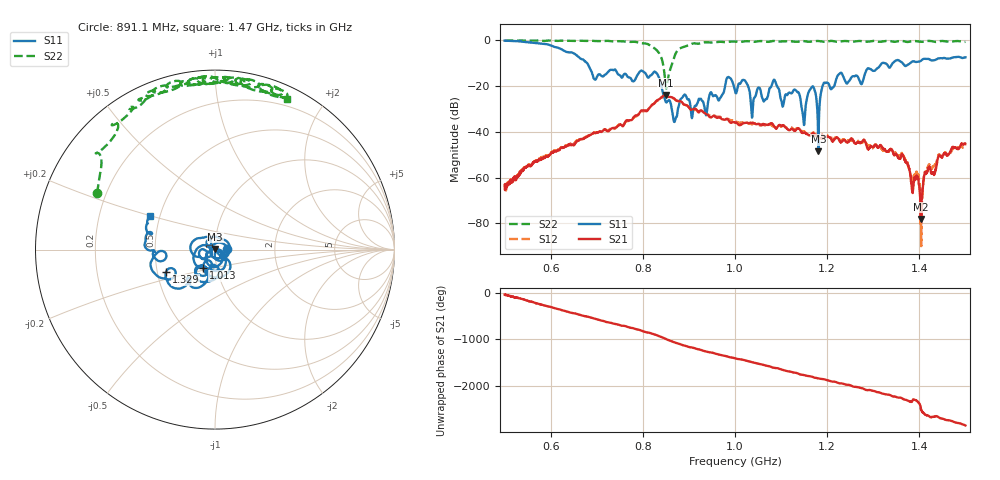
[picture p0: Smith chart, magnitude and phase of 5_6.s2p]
!Agilent Technologies,E8364B,US42250235,A.06.04.32
!Agilent E8364B: A.06.04.32
!Date: Thursday, October 01, 2020 11:19:33
!Correction: S11(Full 2 Port(1,2)) S21(Full 2 Port(1,2)) S12(Full 2 Port(1,2)) S22(Full 2 Port(1,2))
!S2P File: Measurements: S11, S21, S12, S22:
# Hz S  dB  R 50
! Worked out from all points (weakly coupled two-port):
!   2650 points, 500 MHz to 1.5 GHz, reference 50 ohm
!   highest |S21| = -23.95 dB at 849.6 MHz (marker M1); lowest = -78.1 dB at 1.403 GHz (marker M2)
!   lowest |S11| = -48.5 dB at 1.181 GHz (marker M3), VSWR 1.01, Z = 50.1 + j0.359 ohm
!   |S11| at or under -10 dB: 679.2 MHz to 1.319 GHz (640.1 MHz wide, 64.1 % of centre); 1.325 GHz to 1.342 GHz (16.73 MHz wide, 1.25 % of centre); 1.364 GHz to 1.38 GHz (16.4 MHz wide, 1.2 % of centre)
!   |S22| runs from -21.1 to -0.1 dB; largest |S21 - S12| = 0.0081
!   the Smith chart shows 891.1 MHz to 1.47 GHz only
!   S11 on the Smith chart (normalised r, x): 891.1 MHz: 1.14, +0.01; 1.013 GHz: 0.86, -0.18; 1.329 GHz: 0.56, -0.15; 1.47 GHz: 0.44, +0.20
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5e8  -0.18 -175.1  -63.23 -42.4  -64.48 -55.0  -0.21 136.2
5.943752e8  -1.89 123.3  -50.51 63.0  -50.19 59.0  -0.14 126.8
6.668554e8  -8.24 68.1  -43.21 -129.3  -43.24 -131.4  -0.29 121.3
7.835032e8  -17.10 67.3  -32.96 -60.3  -33.42 -65.2  -0.72 96.4
8.337108e8  -15.68 -40.0  -25.92 149.8  -26.27 143.3  -5.22 47.6
8.495659e8  -26.98 -62.1  -23.95 84.2  -24.01 78.1  -19.81 -18.4
8.699509e8  -34.97 -159.5  -25.81 3.4  -25.92 -2.9  -6.33 175.9
8.91091e8  -23.74 2.4  -28.21 -62.2  -28.18 -69.8  -2.76 154.3
1.000189e9  -22.21 -127.4  -35.96 26.5  -35.74 20.8  -0.55 116.8
1.013024e9  -18.35 -122.7  -36.92 3.5  -35.98 -5.8  -0.70 113.4
1.037939e9  -32.01 -131.7  -36.12 -58.9  -36.62 -60.6  -0.65 112.7
1.132692e9  -21.95 -17.2  -39.15 73.0  -38.67 75.0  -0.67 98.8
1.148547e9  -34.69 -84.5  -40.48 27.9  -39.83 31.6  -0.36 97.6
1.166667e9  -20.51 -84.6  -41.12 -8.0  -40.80 -4.1  -0.59 93.5
1.181012e9  -48.50 72.4  -42.43 -47.3  -41.78 -38.7  -0.34 97.1
1.195357e9  -18.57 -78.3  -42.19 -70.5  -42.02 -69.2  -0.69 93.1
1.32937e9  -10.46 -155.5  -48.60 -31.7  -48.59 -10.0  -0.32 80.2
1.333522e9  -11.71 -156.2  -48.32 -38.0  -48.23 -16.5  -0.33 82.2
1.40336e9  -8.99 -179.1  -78.11 4.0  -80.43 163.7  -0.68 72.8
1.417327e9  -8.14 170.4  -57.51 -118.3  -56.48 -101.5  -0.35 67.4
1.4698e9  -7.73 152.7  -47.44 121.7  -48.43 137.4  -0.63 64.5
1.5e9  -7.46 140.6  -45.18 21.2  -45.88 47.0  -0.69 60.4
